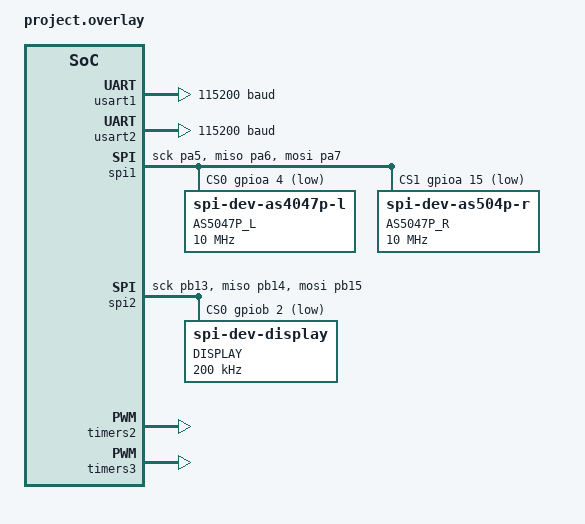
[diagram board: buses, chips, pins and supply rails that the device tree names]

/ {
    aliases {
            camsense-uart-1 = &usart1;
            spi-as5047p = &spi1;
            spi-display = &spi2;
    };

};

&usart1 {
    status = "okay";
    current-speed = < 115200 >;
};

&usart2 {
    status = "okay";
    current-speed = < 115200 >;
};

&spi1 {
    status = "okay";
    pinctrl-0 = <&spi1_sck_pa5 &spi1_miso_pa6 &spi1_mosi_pa7>;
    cs-gpios = <&gpioa 4 GPIO_ACTIVE_LOW>, <&gpioa 15 GPIO_ACTIVE_LOW>;

    as5047p_l: spi-dev-as4047p-l@0 {
        label = "AS5047P_L";
        reg = <0>;
        spi-max-frequency = <10000000>;
    };
    as5047p_r: spi-dev-as504p-r@1 {
        label = "AS5047P_R";
        reg = <1>;
        spi-max-frequency = <10000000>;
    };
};

&spi2 {
    status = "okay";
    pinctrl-0 = <&spi2_sck_pb13 &spi2_miso_pb14 &spi2_mosi_pb15>;
    cs-gpios = <&gpiob 2 GPIO_ACTIVE_LOW>;

    display_l: spi-dev-display@0 {
        label = "DISPLAY";
        reg = <0>;
        spi-max-frequency = <200000>;
    };
};

&timers2
{
    status = "okay";

	pwms_motors: pwm_0 {
		compatible = "st,stm32-pwm";
		status = "okay";
		st,prescaler = <0>;
		label = "PWMS_MOTORS";
		pinctrl-0 = <&tim2_ch1_pa0 &tim2_ch2_pb3> ;
		#pwm-cells = <3>;
	};
};

&timers3
{
    status = "okay";

	pwms_servos: pwm_3 {
		compatible = "st,stm32-pwm";
		status = "okay";
		st,prescaler = <10000>;
		label = "PWMS_SERVOS";
		pinctrl-0 = <&tim3_ch1_pb4 &tim3_ch2_pb5 &tim3_ch3_pb0 &tim3_ch4_pb1> ; // ou tim3_ch3_pc8 et tim3_ch4_pc9
		#pwm-cells = <3>;
	};
};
